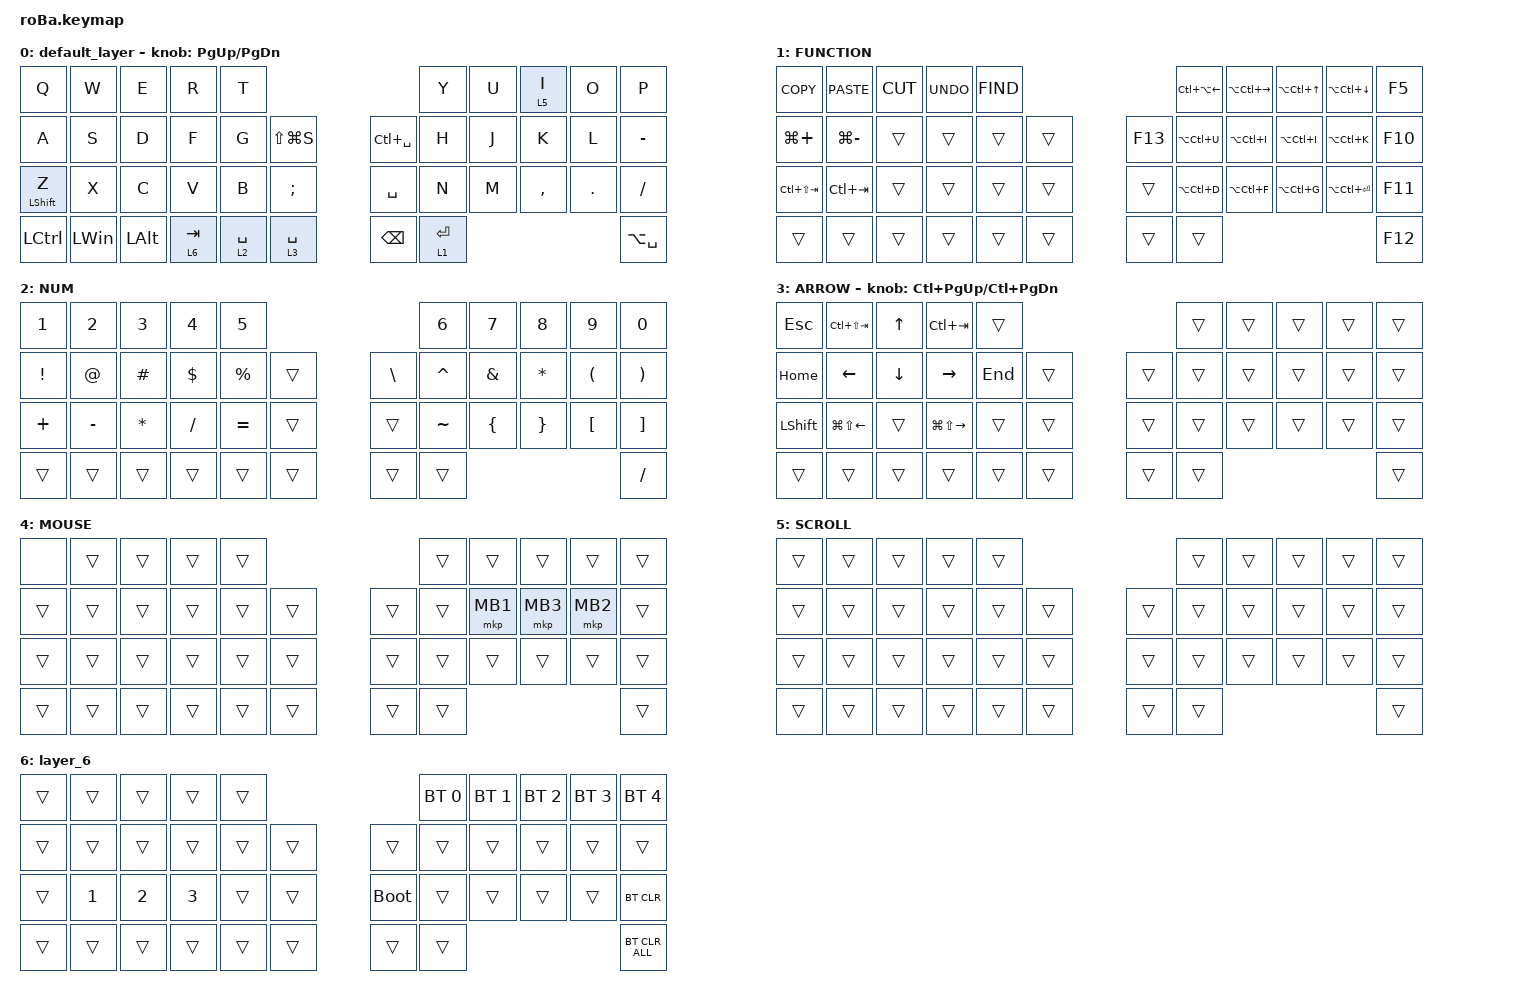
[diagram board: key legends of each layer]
#include <behaviors.dtsi>
#include <dt-bindings/zmk/bt.h>
#include <dt-bindings/zmk/keys.h>
#include <dt-bindings/zmk/pointing.h>

&mt {
    flavor = "balanced";
    quick-tap-ms = <0>;
};

&trackball {
    automouse-layer = <4>;
    scroll-layers = <5>;

    // arrows {
    //     layers = <3>;
    //     bindings =
    //         <&kp RIGHT_ARROW>,
    //         <&kp LEFT_ARROW>,
    //         <&kp UP_ARROW>,
    //         <&kp DOWN_ARROW>;
    //     tick = <10>;
    //     wait-ms = <5>;
    //     tap-ms = <5>;
    // };
};

/ {
    combos {
        compatible = "zmk,combos";

        tab {
            bindings = <&kp TAB>;
            key-positions = <11 12>;
        };

        shift_tab {
            bindings = <&kp LS(TAB)>;
            key-positions = <12 13>;
        };

        muhennkann {
            bindings = <&to_layer_0 INT_MUHENKAN>;
            key-positions = <11 10>;
        };

        double_quotation {
            bindings = <&kp DOUBLE_QUOTES>;
            key-positions = <20 21>;
        };

        eq {
            bindings = <&kp EQUAL>;
            key-positions = <24 25>;
        };
    };

    macros {
        to_layer_0: to_layer_0 {
            compatible = "zmk,behavior-macro-one-param";
            #binding-cells = <1>;
            bindings = <&to 0 &macro_param_1to1 &kp MACRO_PLACEHOLDER>;
            label = "TO_LAYER_0";
        };
    };

    behaviors {
        lt_to_layer_0: lt_to_layer_0 {
            compatible = "zmk,behavior-hold-tap";
            label = "LAYER_TAP_TO_0";
            bindings = <&mo>, <&to_layer_0>;

            #binding-cells = <2>;
            tapping-term-ms = <200>;
        };
    };

    keymap {
        compatible = "zmk,keymap";

        default_layer {
            bindings = <
&kp Q             &kp W         &kp E         &kp R                 &kp T                                                   &kp Y        &kp U  &lt 5 I    &kp O    &kp P
&kp A             &kp S         &kp D         &kp F                 &kp G        &kp LS(LG(S))               &kp LC(SPACE)  &kp H        &kp J  &kp K      &kp L    &kp MINUS
&mt LEFT_SHIFT Z  &kp X         &kp C         &kp V                 &kp B        &kp SEMICOLON               &kp SPACE      &kp N        &kp M  &kp COMMA  &kp DOT  &kp SLASH
&kp LCTRL         &kp LEFT_WIN  &kp LEFT_ALT  &lt_to_layer_0 6 TAB  &lt 2 SPACE  &lt_to_layer_0 3 SPACE      &kp BACKSPACE  &lt 1 ENTER                             &kp LA(SPACE)
            >;

            sensor-bindings = <&inc_dec_kp PG_UP PAGE_DOWN>;
        };

        FUNCTION {
            bindings = <
&kp K_COPY       &kp K_PASTE    &kp K_CUT  &kp K_UNDO  &kp K_FIND                       &kp LC(LA(LEFT))  &kp LA(LC(RIGHT))  &kp LA(LC(UP))  &kp LA(LC(DOWN))   &kp F5
&kp LG(PLUS)     &kp LG(MINUS)  &trans     &trans      &trans      &trans      &kp F13  &kp LA(LC(U))     &kp LA(LC(I))      &kp LA(LC(I))   &kp LA(LC(K))      &kp F10
&kp LC(LS(TAB))  &kp LC(TAB)    &trans     &trans      &trans      &trans      &trans   &kp LA(LC(D))     &kp LA(LC(F))      &kp LA(LC(G))   &kp LA(LC(ENTER))  &kp F11
&trans           &trans         &trans     &trans      &trans      &trans      &trans   &trans                                                                  &kp F12
            >;
        };

        NUM {
            bindings = <
&kp N1    &kp N2     &kp N3        &kp N4      &kp N5                                  &kp NUMBER_6  &kp N7          &kp N8           &kp N9                &kp N0
&kp EXCL  &kp AT     &kp HASH      &kp DOLLAR  &kp PERCENT  &trans      &kp BACKSLASH  &kp CARET     &kp AMPERSAND   &kp ASTRK        &kp LEFT_PARENTHESIS  &kp RIGHT_PARENTHESIS
&kp PLUS  &kp MINUS  &kp ASTERISK  &kp SLASH   &kp EQUAL    &trans      &trans         &kp TILDE     &kp LEFT_BRACE  &kp RIGHT_BRACE  &kp LEFT_BRACKET      &kp RIGHT_BRACKET
&trans    &trans     &trans        &trans      &trans       &trans      &trans         &trans                                                               &kp SLASH
            >;
        };

        ARROW {
            bindings = <
&kp ESCAPE      &kp LC(LS(TAB))         &kp UP_ARROW    &kp LC(TAB)              &trans                       &trans  &trans  &trans  &trans  &trans
&kp HOME        &kp LEFT_ARROW          &kp DOWN_ARROW  &kp RIGHT_ARROW          &kp END  &trans      &trans  &trans  &trans  &trans  &trans  &trans
&kp LEFT_SHIFT  &kp LG(LS(LEFT_ARROW))  &trans          &kp LG(LS(RIGHT_ARROW))  &trans   &trans      &trans  &trans  &trans  &trans  &trans  &trans
&trans          &trans                  &trans          &trans                   &trans   &trans      &trans  &trans                          &trans
            >;

            sensor-bindings = <&inc_dec_kp LC(PAGE_UP) LC(PAGE_DOWN)>;
        };

        MOUSE {
            bindings = <
&none   &trans  &trans  &trans  &trans                      &trans  &trans    &trans    &trans    &trans
&trans  &trans  &trans  &trans  &trans  &trans      &trans  &trans  &mkp MB1  &mkp MB3  &mkp MB2  &trans
&trans  &trans  &trans  &trans  &trans  &trans      &trans  &trans  &trans    &trans    &trans    &trans
&trans  &trans  &trans  &trans  &trans  &trans      &trans  &trans                                &trans
            >;
        };

        SCROLL {
            bindings = <
&trans  &trans  &trans  &trans  &trans                      &trans  &trans  &trans  &trans  &trans
&trans  &trans  &trans  &trans  &trans  &trans      &trans  &trans  &trans  &trans  &trans  &trans
&trans  &trans  &trans  &trans  &trans  &trans      &trans  &trans  &trans  &trans  &trans  &trans
&trans  &trans  &trans  &trans  &trans  &trans      &trans  &trans                          &trans
            >;
        };

        layer_6 {
            bindings = <
&trans  &trans        &trans        &trans        &trans                           &bt BT_SEL 0  &bt BT_SEL 1  &bt BT_SEL 2  &bt BT_SEL 3  &bt BT_SEL 4
&trans  &trans        &trans        &trans        &trans  &trans      &trans       &trans        &trans        &trans        &trans        &trans
&trans  &kp NUMBER_1  &kp NUMBER_2  &kp NUMBER_3  &trans  &trans      &bootloader  &trans        &trans        &trans        &trans        &bt BT_CLR
&trans  &trans        &trans        &trans        &trans  &trans      &trans       &trans                                                  &bt BT_CLR_ALL
            >;
        };
    };
};
